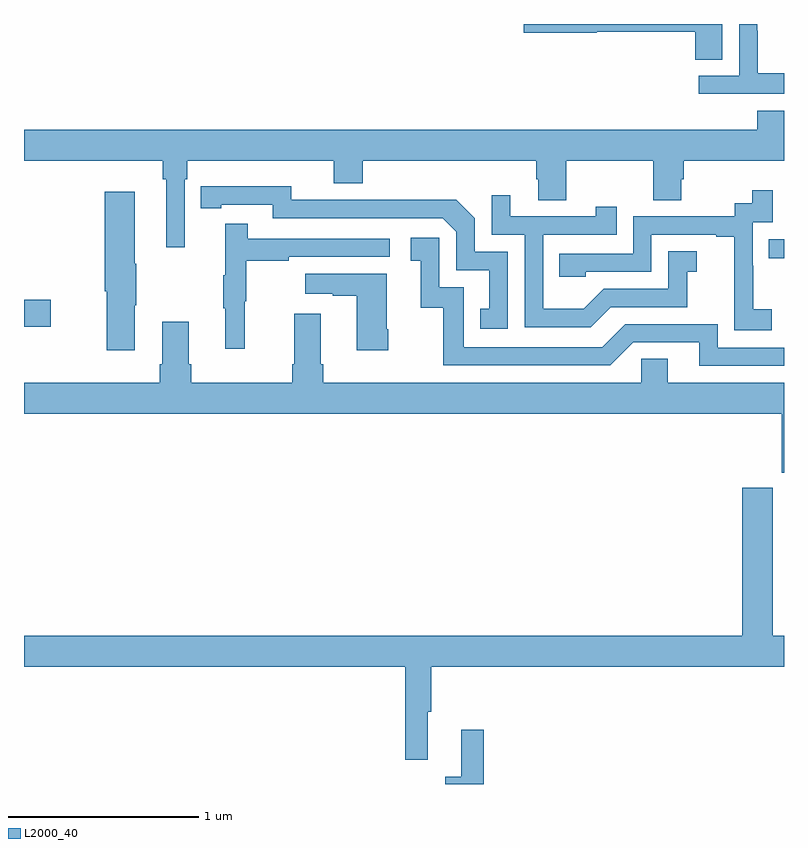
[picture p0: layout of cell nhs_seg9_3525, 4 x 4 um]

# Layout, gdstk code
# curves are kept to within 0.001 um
import gdstk
lib = gdstk.Library(unit=1e-6, precision=1e-09)
def R(c, l, rs):  # rectangles x0, y0, x1, y1
    for r in rs: c.add(gdstk.rectangle(r[:2], r[2:], *l))
def P(c, l, *ps):  # polygons
    for p in ps: c.add(gdstk.Polygon(p, *l))
L2000_40 = (2000, 40)

nhs_seg9_3525 = lib.new_cell('nhs_seg9_3525')
R(nhs_seg9_3525, L2000_40, [(313,1168.906,313.141,1169.048), (316.921,1169.266,317,1169.367)])
P(nhs_seg9_3525, L2000_40, [(317,1170.241),(316.863,1170.241),(316.863,1170.464),(316.86,1170.464),(316.86,1170.5),(316.764,1170.5),(316.764,1170.228),(316.551,1170.228),(316.551,1170.132),(317,1170.132)],
  [(316.675,1170.5),(315.63,1170.5),(315.63,1170.455),(316.014,1170.455),(316.014,1170.46),(316.532,1170.46),(316.532,1170.313),(316.675,1170.313)],
  [(313.845,1169.684),(313.859,1169.684),(313.859,1169.78),(314.63,1169.78),(314.63,1169.663),(314.783,1169.663),(314.783,1169.78),(315.695,1169.78),(315.695,1169.682),(315.707,1169.682),(315.707,1169.572),(315.855,1169.572),(315.855,1169.78),(316.312,1169.78),(316.312,1169.572),(316.459,1169.572),(316.459,1169.682),(316.472,1169.682),(316.472,1169.78),(317,1169.78),(317,1170.043),(316.859,1170.043),(316.859,1169.944),(313,1169.944),(313,1169.78),(313.729,1169.78),(313.729,1169.684),(313.748,1169.684),(313.748,1169.325),(313.845,1169.325)],
  [(315.546,1169.301),(315.372,1169.301),(315.372,1169.478),(315.274,1169.576),(314.866,1169.576),(314.866,1169.574),(314.406,1169.574),(314.406,1169.647),(313.93,1169.646),(313.93,1169.53),(314.038,1169.53),(314.038,1169.55),(314.31,1169.55),(314.31,1169.478),(315.204,1169.478),(315.276,1169.406),(315.276,1169.205),(315.449,1169.205),(315.449,1169.001),(315.4,1169.001),(315.4,1168.896),(315.546,1168.896)],
  [(316.936,1168.999),(316.838,1168.999),(316.838,1169.228),(316.836,1169.228),(316.836,1169.457),(316.941,1169.457),(316.941,1169.626),(316.833,1169.626),(316.833,1169.556),(316.74,1169.556),(316.74,1169.487),(316.206,1169.487),(316.206,1169.292),(315.817,1169.292),(315.817,1169.169),(315.957,1169.169),(315.957,1169.196),(316.302,1169.196),(316.302,1169.391),(316.643,1169.391),(316.643,1169.379),(316.739,1169.379),(316.739,1169.095),(316.738,1169.095),(316.738,1168.889),(316.936,1168.889)],
  [(313.582,1169.02),(313.59,1169.02),(313.59,1169.237),(313.582,1169.237),(313.582,1169.617),(313.424,1169.617),(313.424,1169.094),(313.436,1169.094),(313.436,1168.782),(313.582,1168.782)],
  [(316.087,1169.01),(316.491,1169.01),(316.491,1169.195),(316.54,1169.195),(316.54,1169.305),(316.392,1169.305),(316.392,1169.106),(316.05,1169.106),(315.946,1169.002),(315.732,1169.002),(315.732,1169.391),(316.121,1169.391),(316.121,1169.539),(316.01,1169.539),(316.01,1169.487),(315.559,1169.487),(315.559,1169.599),(315.462,1169.599),(315.462,1169.391),(315.636,1169.391),(315.636,1168.905),(315.982,1168.905)],
  [(314.162,1169.04),(314.17,1169.04),(314.17,1169.254),(314.393,1169.254),(314.393,1169.274),(314.926,1169.274),(314.926,1169.37),(314.177,1169.37),(314.177,1169.449),(314.06,1169.449),(314.06,1169.177),(314.049,1169.177),(314.049,1169.003),(314.06,1169.003),(314.06,1168.791),(314.162,1168.791)],
  [(317,1168.797),(316.65,1168.797),(316.65,1168.92),(316.164,1168.92),(316.044,1168.8),(315.315,1168.8),(315.315,1169.115),(315.186,1169.115),(315.186,1169.374),(315.036,1169.374),(315.036,1169.253),(315.089,1169.253),(315.089,1169.007),(315.207,1169.007),(315.207,1168.704),(316.086,1168.704),(316.206,1168.824),(316.553,1168.824),(316.553,1168.701),(317,1168.701)],
  [(314.916,1168.894),(314.908,1168.894),(314.908,1169.185),(314.481,1169.185),(314.481,1169.081),(314.624,1169.081),(314.624,1169.071),(314.75,1169.071),(314.75,1168.782),(314.916,1168.782)],
  [(317,1168.612),(316.387,1168.612),(316.387,1168.739),(316.248,1168.739),(316.248,1168.612),(314.576,1168.612),(314.576,1168.708),(314.563,1168.708),(314.563,1168.975),(314.423,1168.975),(314.423,1168.708),(314.411,1168.708),(314.411,1168.612),(313.88,1168.612),(313.88,1168.708),(313.867,1168.708),(313.867,1168.933),(313.727,1168.933),(313.727,1168.708),(313.715,1168.708),(313.715,1168.612),(313,1168.612),(313,1168.448),(316.988,1168.448),(316.988,1168.139),(317,1168.139)],
  [(315.125,1166.88),(315.143,1166.88),(315.143,1167.116),(317,1167.116),(317,1167.28),(316.941,1167.28),(316.941,1168.06),(316.781,1168.06),(316.781,1167.28),(313,1167.28),(313,1167.116),(315.007,1167.116),(315.007,1166.628),(315.125,1166.628)],
  [(315.419,1166.785),(315.302,1166.785),(315.302,1166.537),(315.216,1166.537),(315.216,1166.5),(315.419,1166.5)])

lib.write_gds('nhs_seg9_3525.gds')
